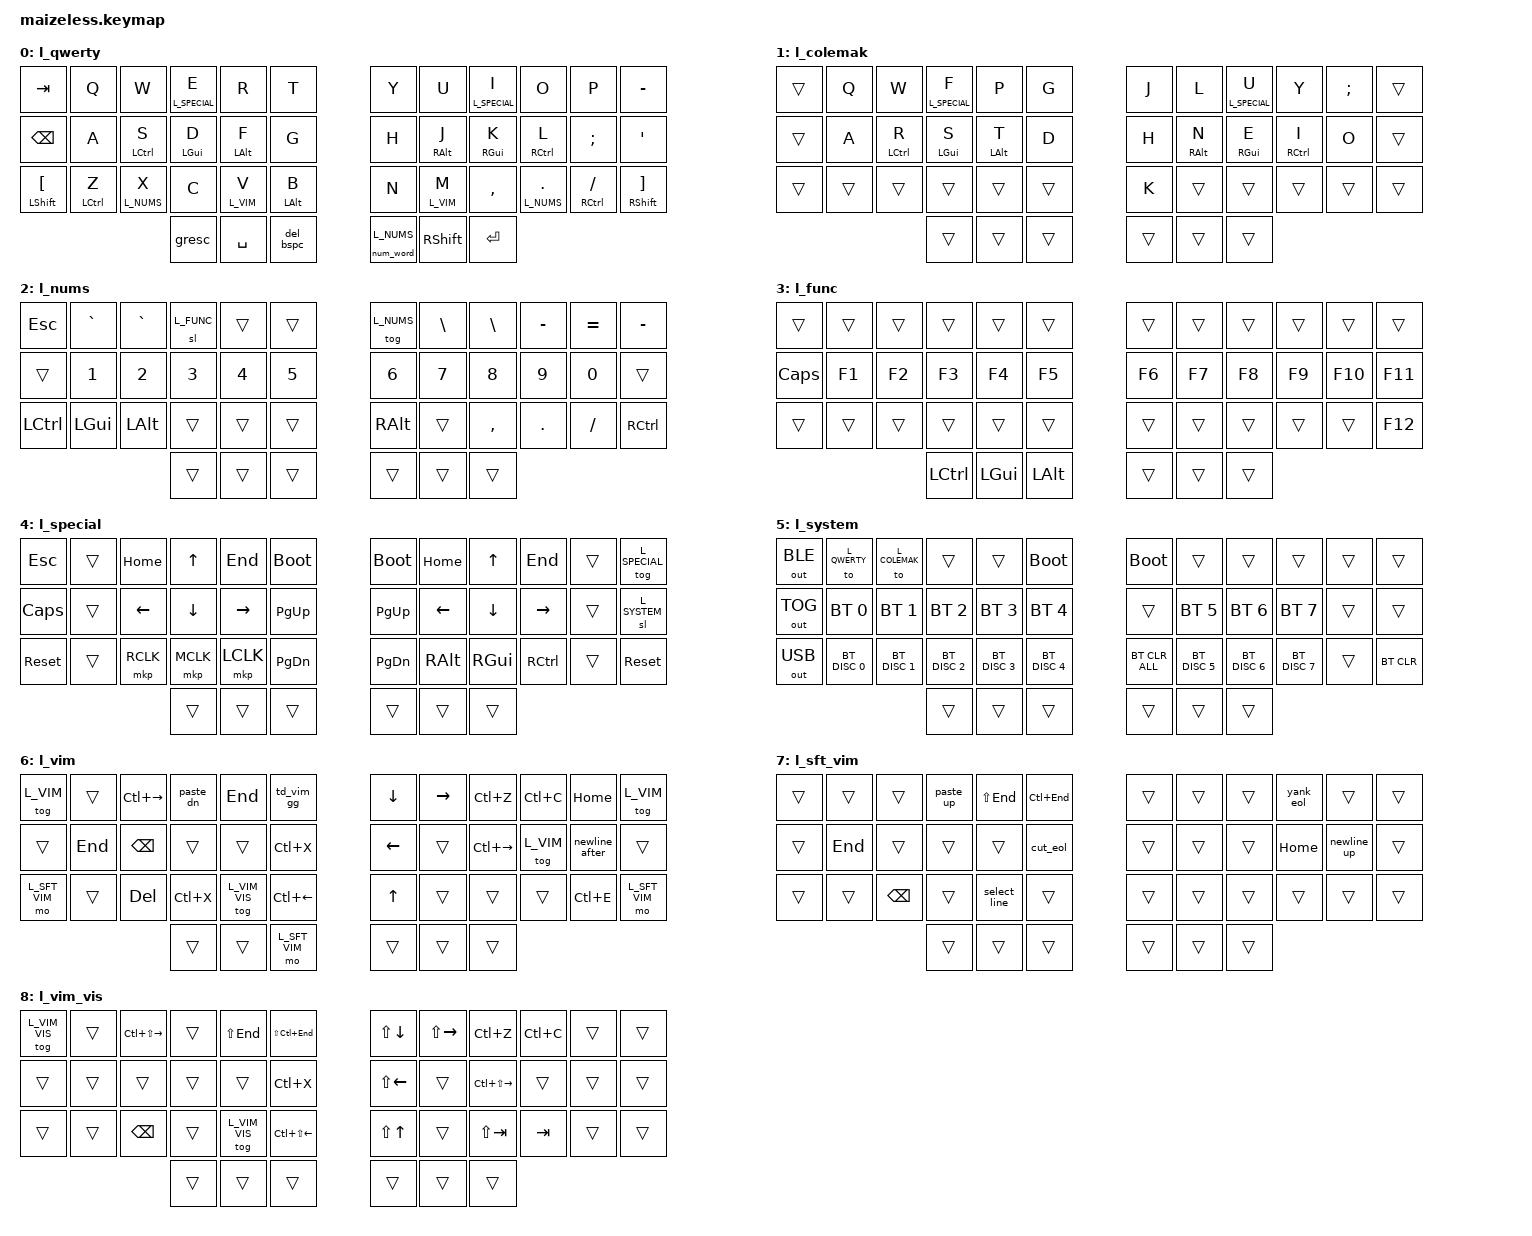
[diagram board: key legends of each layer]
/* vim: ft=dts
 * Copyright (c) 2020 The ZMK Contributors
 *
 * SPDX-License-Identifier: MIT
 */

#include <behaviors.dtsi>
#include <dt-bindings/zmk/keys.h>
#include <dt-bindings/zmk/bt.h>
#include <dt-bindings/zmk/outputs.h>
#include <dt-bindings/zmk/mouse.h>
// From urob
#include <behaviors/num_word.dtsi>

#define L_QWERTY  0
#define L_COLEMAK 1
#define L_NUMS    2
#define L_FUNC    3
#define L_SPECIAL 4
#define L_SYSTEM  5
#define L_VIM     6
#define L_SFT_VIM 7
#define L_VIM_VIS 8


/ {
        keymap {
                compatible = "zmk,keymap";

        l_qwerty {
            bindings = <
// &kp GRAVE  &kp N1  &kp N2  &kp N3  &kp N4  &lt L_SPECIAL N5        &kp N6  &kp N7  &kp N8  &kp N9  &kp N0  &lt L_SPECIAL EQUAL
&kp TAB         &kp Q        &kp W         &lt L_SPECIAL E  &kp R       &kp T          &kp Y   &kp U       &lt L_SPECIAL I &kp O           &kp P            &kp MINUS
&kp BSPC        &kp A        &hrm LCTRL S  &hrm LGUI D      &hrm LALT F &kp G          &kp H   &hrm RALT J &hrm RGUI K     &hrm RCTRL L    &kp SEMI         &kp APOS
&mt LSHFT LBKT  &hrm LCTRL Z &lt L_NUMS X  &kp C            &lt L_VIM V &hrm LALT B    &kp N   &lt L_VIM M &kp COMMA       &lt L_NUMS DOT  &hrm RCTRL SLASH &mt RSHFT RBKT
                                           &gresc           &kp SPACE   &del_bspc         &num_word L_NUMS  &kp RSHFT   &kp RET
            >;
        };

        l_colemak {
            bindings = <
// &kp GRAVE  &kp N1  &kp N2  &kp N3  &kp N4  &lt L_SPECIAL N5        &kp N6  &kp N7  &kp N8  &kp N9  &kp N0  &lt L_SPECIAL EQUAL
&trans  &kp Q  &kp W        &lt L_SPECIAL F  &kp P       &kp G     &kp J  &kp L       &lt L_SPECIAL U &kp Y        &kp SEMI  &trans
&trans  &kp A  &hrm LCTRL R &hrm LGUI S      &hrm LALT T &kp D     &kp H  &hrm RALT N &hrm RGUI E     &hrm RCTRL I &kp O     &trans
&trans  &trans &trans       &trans           &trans      &trans    &kp K  &trans      &trans          &trans       &trans    &trans
                            &trans           &trans      &trans    &trans &trans      &trans  
            >;
        };

        l_nums {
            bindings = <
// &kp GRAVE &kp F1    &kp F2    &kp F3     &kp F4 &kp F5         &kp F6   &kp F7   &kp F8   &kp F9    &kp F10   &kp F11
&kp ESC   &kp GRAVE &kp GRAVE &sl L_FUNC &trans &trans     &tog L_NUMS &kp BSLH &kp BSLH    &kp MINUS &kp EQUAL &kp MINUS 
&trans    &kp N1    &kp N2    &kp N3     &kp N4 &kp N5     &kp N6      &kp N7   &kp N8      &kp N9    &kp N0    &trans
&kp LCTRL &kp LGUI  &kp LALT  &trans     &trans &trans     &kp RALT    &trans   &kp COMMA   &kp DOT   &kp SLASH &kp RCTRL
                                &trans   &trans &trans     &trans      &trans   &trans
            >;
        };

        l_func {
            bindings = <
                // TODO add special functions like locks etc.
&trans    &trans &trans &trans     &trans   &trans     &trans   &trans   &trans   &trans &trans  &trans
&kp CLCK  &kp F1 &kp F2 &kp F3     &kp F4   &kp F5     &kp F6   &kp F7   &kp F8   &kp F9 &kp F10 &kp F11
&trans    &trans &trans &trans     &trans   &trans     &trans   &trans   &trans   &trans &trans  &kp F12
                        &kp LCTRL  &kp LGUI &kp LALT   &trans   &trans   &trans
            >;
        };

        l_special {
            bindings = <
// &trans          &to L_QWERTY  &to L_COLEMAK  &trans         &trans         &kp SLEP        &bootloader  &trans  &trans  &trans  &kp PSCRN  &sys_reset
&kp ESC         &trans        &kp HOME       &kp UP       &kp END        &bootloader     &bootloader  &kp HOME &kp UP   &kp END  &trans    &tog L_SPECIAL
&kp CLCK   &trans        &kp LEFT       &kp DOWN     &kp RIGHT      &kp PG_UP       &kp PG_UP    &kp LEFT &kp DOWN &kp RIGHT &trans   &sl L_SYSTEM
&sys_reset      &trans        &mkp RCLK      &mkp MCLK    &mkp LCLK      &kp PG_DN       &kp PG_DN    &kp RALT &kp RGUI &kp RCTRL &trans   &sys_reset 
                                             &trans       &trans         &trans          &trans       &trans   &trans
                                            // &ht C_VOL_DN C_MUTE   &kp C_VOL_UP
                                            // &kp C_PREV     &kp C_PP C_NEXT
            >;
        };

        l_system {
            bindings = <
&out OUT_BLE &to L_QWERTY  &to L_COLEMAK &trans         &trans        &bootloader      &bootloader    &trans &trans &trans &trans  &trans
&out OUT_TOG &bt BT_SEL 0  &bt BT_SEL 1  &bt BT_SEL 2   &bt BT_SEL 3  &bt BT_SEL 4     &trans         &bt BT_SEL 5  &bt BT_SEL 6  &bt BT_SEL 7  &trans  &trans
&out OUT_USB &bt BT_DISC 0 &bt BT_DISC 1 &bt BT_DISC 2  &bt BT_DISC 3 &bt BT_DISC 4    &bt BT_CLR_ALL &bt BT_DISC 5 &bt BT_DISC 6 &bt BT_DISC 7 &trans  &bt BT_CLR
                                         &trans         &trans        &trans           &trans         &trans &trans
            >;
        };

        l_vim {
    bindings = <
// &sl LAYER_LOCK &kp DM_RSTP &kp DM_PLY1 &kp DM_PLY2 &kp END &trans        &trans  &trans     &trans     &trans     &kp HOME &trans
&tog L_VIM    &trans      &kp LC(RIGHT) &paste_dn  &kp END        &td_vim_gg      &kp DOWN        &kp RIGHT  &kp LC(Z)     &kp LC(C)     &kp HOME       &tog L_VIM
&trans        &kp END     &kp BSPC      &trans     &trans         &kp LC(X)       &kp LEFT        &trans     &kp LC(RIGHT) &tog L_VIM    &newline_after &trans
&mo L_SFT_VIM &trans      &kp DEL       &kp LC(X)  &tog L_VIM_VIS &kp LC(LEFT)    &kp UP          &trans     &trans        &trans        &kp LC(E)      &mo L_SFT_VIM
                                        &trans     &trans         &mo L_SFT_VIM   &trans          &trans     &trans
            >;
        };

        l_sft_vim {
                        bindings = <
// &trans  &trans  &trans  &trans  &kp END &trans        &kp HOME &trans  &trans  &trans  &trans  &trans
&trans   &trans  &trans   &paste_up  &kp LS(END)  &kp LC(END)   &trans   &trans  &trans  &yank_eol    &trans         &trans
&trans   &kp END &trans   &trans     &trans       &cut_eol      &trans   &trans  &trans  &kp HOME     &newline_up    &trans
&trans   &trans  &kp BSPC &trans     &select_line &trans        &trans   &trans  &trans  &trans       &trans         &trans
                          &trans     &trans       &trans        &trans   &trans  &trans
                        >;
                };

        l_vim_vis {
                        bindings = <
// &tog L_VIM_VIS &trans  &trans  &trans  &kp LS(END) &trans        &kp LS(HOME) &trans  &trans  &trans  &kp LS(HOME) &trans
&tog L_VIM_VIS  &trans  &kp LC(LS(RIGHT)) &trans  &kp LS(END)          &kp LS(LC(END))  &kp LS(DOWN) &kp LS(RIGHT) &kp LC(Z)         &kp LC(C) &trans  &trans
&trans          &trans  &trans            &trans  &trans            &kp LC(X)        &kp LS(LEFT) &trans        &kp LC(LS(RIGHT)) &trans  &trans  &trans
&trans          &trans  &kp BSPC          &trans  &tog L_VIM_VIS    &kp LC(LS(LEFT)) &kp LS(UP)   &trans        &kp LS(TAB)       &kp TAB &trans  &trans
                                          &trans  &trans  &trans        &trans   &trans  &trans
            >;
        };

    };


    caps_Word: prog_caps {
        compatible = "zmk,behavior-caps-word";
        #binding-cells = <0>;
        continue-list = <UNDERSCORE>;
    };

    // Tap for caps_Word, hold for caps lock
    caps_ht: caps_lock_word_ht {
        compatible = "zmk,behavior-hold-tap";
        #binding-cells = <2>;
        tapping-term-ms = <200>;
        bindings = <&caps_Word>, <&kp>;
    };

    combos {
        compatible = "zmk,combos";
        combo_ctrlshift {
            timeout-ms = <150>;
            key-positions = <12 24>;
            bindings = <&kp LC(LSHIFT)>;
        };
    };

    macros {

        newline_after: newline_after {
            compatible = "zmk,behavior-macro";
            #binding-cells = <0>;
            wait-ms = <100>;
            bindings = <&kp END &kp ENTER>;
        };

        paste_up: paste_up {
            compatible = "zmk,behavior-macro";
            #binding-cells = <0>;
            wait-ms = <100>;
            bindings = <&kp HOME &kp LC(V) &kp ENTER>;
        };

        paste_dn: paste_dn {
            compatible = "zmk,behavior-macro";
            #binding-cells = <0>;
            wait-ms = <100>;
            bindings = <&kp END &kp ENTER &kp LC(V)>;
        };

        cut_eol: cut_eol {
            compatible = "zmk,behavior-macro";
            #binding-cells = <0>;
            wait-ms = <100>;
            bindings = <&kp LS(END) &kp LC(X)>;
        };

        select_line: select_line {
            compatible = "zmk,behavior-macro";
            #binding-cells = <0>;
            wait-ms = <100>;
            bindings = <&kp HOME &kp LS(END)>;
        };

        yank_eol: yank_eol {
            compatible = "zmk,behavior-macro";
            #binding-cells = <0>;
            wait-ms = <100>;
            bindings = <&kp LS(END) &kp LC(C)>;
        };

        newline_up: newline_up {
            compatible = "zmk,behavior-macro"; 
            #binding-cells = <0>;
            wait-ms = <100>;
            bindings = <&kp HOME &kp ENTER &kp LEFT>;
        };

    };

    behaviors {
        hrm: home_row_mods {
            compatible = "zmk,behavior-hold-tap";
            #binding-cells = <2>;
            flavor = "balanced";
            tapping-term-ms = <180>;
            quick-tap-ms = <200>;
            require-prior-idle-ms = <145>;
            bindings = <&kp>, <&kp>;
            // Trigger instantly for tab, escape thumb key (esp useful for esc_gr), shifts/brackets
            hold-trigger-key-positions = <0 36 24 35>;
            hold-trigger-on-release;
        };

        lt: layer_tap {
            // compatible = "zmk,behavior-hold-tap";
            // #binding-cells = <2>;
            flavor = "tap-preferred";
            tapping-term-ms = <160>;
            quick-tap-ms = <200>;
            require-prior-idle-ms = <145>;
            // bindinggs = <&kp>, <&mo>;
        };

        td_vim_gg: tap_dance_vim_gg {
            compatible = "zmk,behavior-tap-dance";
            #binding-cells = <0>;
            tapping-term-ms = <200>;
            bindings = <&none>, <&kp LC(HOME)>;
        };

        // Modify gresc to just use right shift for tilde, alt for grave, rgui for gui+grave.
        gresc: grave_escape {
            compatible = "zmk,behavior-mod-morph";
            #binding-cells = <0>;
            bindings = <&kp ESC>, <&kp GRAVE>;
            mods = <(MOD_RSFT|MOD_RALT|MOD_RGUI)>;
            keep-mods = <(MOD_RSFT|MOD_RGUI)>;
        };

        del_bspc: shift_del_bspc {
            compatible = "zmk,behavior-mod-morph";
            #binding-cells = <0>;
            bindings = <&kp DEL>, <&kp BSPC>;
            mods = <(MOD_RSFT)>;
        };
    };
};

&sl {
    release-after-ms = <6000>;
};
